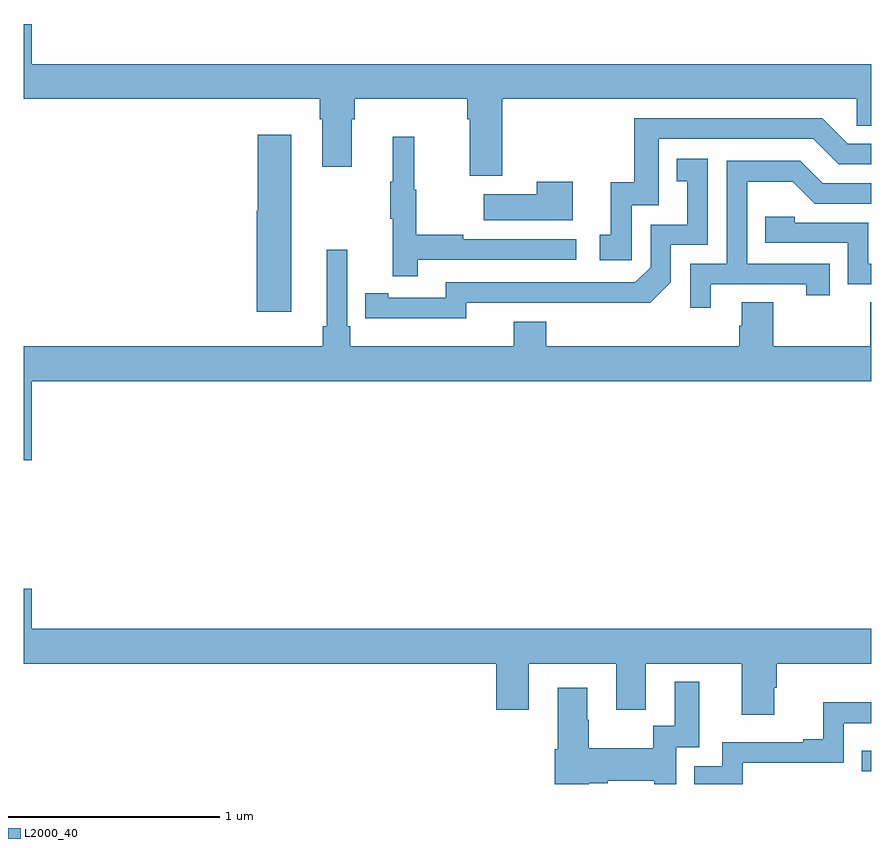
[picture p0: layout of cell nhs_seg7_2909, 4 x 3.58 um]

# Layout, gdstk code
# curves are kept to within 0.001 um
import gdstk
lib = gdstk.Library(unit=1e-6, precision=1e-09)
def R(c, l, rs):  # rectangles x0, y0, x1, y1
    for r in rs: c.add(gdstk.rectangle(r[:2], r[2:], *l))
def P(c, l, *ps):  # polygons
    for p in ps: c.add(gdstk.Polygon(p, *l))
L2000_40 = (2000, 40)

nhs_seg7_2909 = lib.new_cell('nhs_seg7_2909')
R(nhs_seg7_2909, L2000_40, [(300.955,1048.059,301,1048.156)])
P(nhs_seg7_2909, L2000_40, [(297.04,1051.585),(297,1051.585),(297,1051.232),(298.397,1051.232),(298.397,1051.136),(298.409,1051.136),(298.409,1050.912),(298.549,1050.912),(298.549,1051.136),(298.562,1051.136),(298.562,1051.232),(299.093,1051.232),(299.093,1051.136),(299.105,1051.136),(299.105,1050.87),(299.258,1050.87),(299.258,1051.232),(300.93,1051.232),(300.93,1051.105),(301,1051.105),(301,1051.396),(297.04,1051.396)],
  [(299.868,1050.729),(299.997,1050.729),(299.997,1051.044),(300.726,1051.044),(300.846,1050.924),(301,1050.924),(301,1051.02),(300.888,1051.02),(300.768,1051.14),(299.881,1051.14),(299.881,1050.838),(299.771,1050.838),(299.771,1050.591),(299.718,1050.591),(299.718,1050.471),(299.868,1050.471)],
  [(298.264,1051.063),(298.106,1051.063),(298.106,1050.705),(298.1,1050.705),(298.1,1050.228),(298.264,1050.228)],
  [(298.859,1050.474),(299.608,1050.474),(299.608,1050.57),(299.075,1050.57),(299.075,1050.59),(298.852,1050.59),(298.852,1050.804),(298.844,1050.804),(298.844,1051.054),(298.742,1051.054),(298.742,1050.841),(298.731,1050.841),(298.731,1050.667),(298.742,1050.667),(298.742,1050.396),(298.859,1050.396)],
  [(299.088,1050.27),(299.956,1050.269),(300.054,1050.366),(300.054,1050.543),(300.228,1050.543),(300.228,1050.949),(300.082,1050.949),(300.082,1050.843),(300.131,1050.843),(300.131,1050.639),(299.958,1050.639),(299.958,1050.438),(299.886,1050.366),(298.992,1050.366),(298.992,1050.294),(298.72,1050.294),(298.72,1050.314),(298.612,1050.314),(298.612,1050.198),(299.088,1050.197)],
  [(300.241,1050.357),(300.692,1050.357),(300.692,1050.306),(300.803,1050.306),(300.803,1050.453),(300.414,1050.453),(300.414,1050.842),(300.628,1050.842),(300.732,1050.738),(301,1050.738),(301,1050.834),(300.769,1050.834),(300.664,1050.939),(300.318,1050.939),(300.318,1050.453),(300.144,1050.453),(300.144,1050.246),(300.241,1050.246)],
  [(299.59,1050.841),(299.42,1050.841),(299.42,1050.781),(299.171,1050.781),(299.171,1050.659),(299.59,1050.659)],
  [(301,1050.453),(300.984,1050.453),(300.984,1050.648),(300.639,1050.648),(300.639,1050.675),(300.499,1050.675),(300.499,1050.552),(300.888,1050.552),(300.888,1050.357),(301,1050.357)],
  [(297.04,1049.9),(301,1049.9),(301,1050.272),(300.994,1050.272),(300.994,1050.064),(300.537,1050.064),(300.537,1050.272),(300.389,1050.272),(300.389,1050.162),(300.377,1050.162),(300.377,1050.064),(299.465,1050.064),(299.465,1050.181),(299.312,1050.181),(299.312,1050.064),(298.541,1050.064),(298.541,1050.16),(298.527,1050.16),(298.527,1050.52),(298.43,1050.52),(298.43,1050.16),(298.411,1050.16),(298.411,1050.064),(297,1050.064),(297,1049.526),(297.04,1049.526)],
  [(297.04,1048.921),(297,1048.921),(297,1048.568),(299.231,1048.568),(299.231,1048.35),(299.383,1048.35),(299.383,1048.568),(299.795,1048.568),(299.795,1048.35),(299.935,1048.35),(299.935,1048.568),(300.389,1048.568),(300.389,1048.326),(300.541,1048.326),(300.541,1048.455),(300.554,1048.455),(300.554,1048.568),(301,1048.568),(301,1048.732),(297.04,1048.732)],
  [(299.667,1048.004),(299.755,1048.004),(299.755,1048.016),(299.975,1048.016),(299.975,1048),(300.078,1048),(300.078,1048.173),(300.187,1048.173),(300.187,1048.483),(300.071,1048.483),(300.071,1048.274),(299.97,1048.274),(299.97,1048.168),(299.667,1048.168),(299.667,1048.302),(299.659,1048.302),(299.659,1048.453),(299.519,1048.453),(299.519,1048.164),(299.507,1048.164),(299.507,1048),(299.667,1048)],
  [(300.393,1048.101),(300.87,1048.101),(300.87,1048.286),(301,1048.286),(301,1048.385),(300.772,1048.385),(300.772,1048.21),(300.677,1048.21),(300.677,1048.197),(300.297,1048.197),(300.297,1048.083),(300.163,1048.083),(300.163,1048),(300.393,1048)])

lib.write_gds('nhs_seg7_2909.gds')
